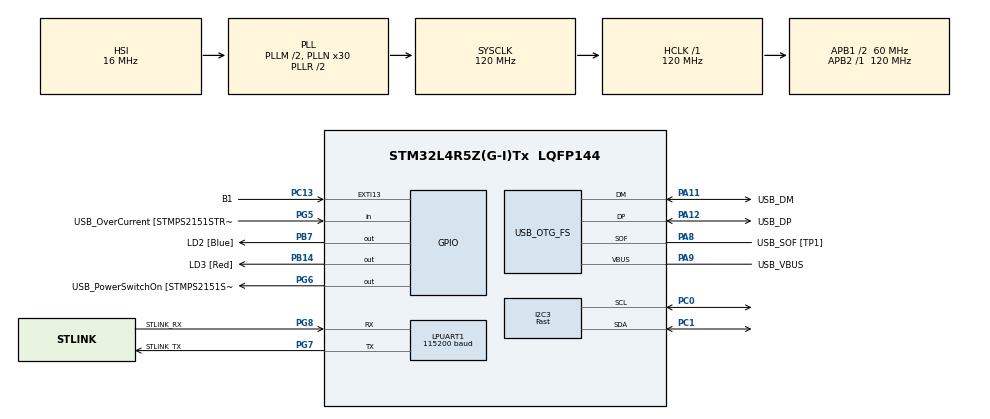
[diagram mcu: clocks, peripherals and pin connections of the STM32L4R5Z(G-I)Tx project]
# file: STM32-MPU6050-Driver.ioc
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I2C3.I2C_Speed_Mode=I2C_Fast
I2C3.Timing=0x00B01E60
LPUART1.BaudRate=115200
LPUART1.WordLength=UART_WORDLENGTH_8B
Mcu.Family=STM32L4
Mcu.Name=STM32L4R5Z(G-I)Tx
Mcu.Package=LQFP144
NVIC.PriorityGroup=NVIC_PRIORITYGROUP_4
PA10.GPIO_Label=USB_ID
PA10.Signal=USB_OTG_FS_ID
PA11.GPIO_Label=USB_DM
PA11.Mode=Device_Only
PA11.Signal=USB_OTG_FS_DM
PA12.GPIO_Label=USB_DP
PA12.Mode=Device_Only
PA12.Signal=USB_OTG_FS_DP
PA13\ (JTMS/SWDIO).GPIO_Label=TMS
PA13\ (JTMS/SWDIO).Mode=Trace_Asynchronous_SW
PA13\ (JTMS/SWDIO).Signal=SYS_JTMS-SWDIO
PA14\ (JTCK/SWCLK).GPIO_Label=TCK
PA14\ (JTCK/SWCLK).Mode=Trace_Asynchronous_SW
PA14\ (JTCK/SWCLK).Signal=SYS_JTCK-SWCLK
PA8.GPIO_Label=USB_SOF [TP1]
PA8.Mode=Activate_SOF_FS
PA8.Signal=USB_OTG_FS_SOF
PA9.GPIO_Label=USB_VBUS
PA9.Mode=Activate_VBUS
PA9.Signal=USB_OTG_FS_VBUS
PB14.GPIO_Label=LD3 [Red]
PB14.Signal=GPIO_Output
PB3\ (JTDO/TRACESWO).GPIO_Label=SWO
PB3\ (JTDO/TRACESWO).Mode=Trace_Asynchronous_SW
PB3\ (JTDO/TRACESWO).Signal=SYS_JTDO-SWO
PB7.GPIO_Label=LD2 [Blue]
PB7.Signal=GPIO_Output
PC0.Mode=I2C
PC0.Signal=I2C3_SCL
PC1.Mode=I2C
PC1.Signal=I2C3_SDA
PC13.GPIO_Label=B1
PC13.Signal=GPXTI13
PC14-OSC32_IN\ (PC14).Mode=LSE-External-Oscillator
PC14-OSC32_IN\ (PC14).Signal=RCC_OSC32_IN
PC15-OSC32_OUT\ (PC15).Mode=LSE-External-Oscillator
PC15-OSC32_OUT\ (PC15).Signal=RCC_OSC32_OUT
PD8.GPIO_Label=STLK_RX [STM32F103CBT6_PA3]
PD8.Signal=USART3_TX
PD9.GPIO_Label=STLK_TX [STM32F103CBT6_PA2]
PD9.Signal=USART3_RX
PG5.GPIO_Label=USB_OverCurrent [STMPS2151STR_FAULT]
PG5.Signal=GPIO_Input
PG6.GPIO_Label=USB_PowerSwitchOn [STMPS2151STR_EN]
PG6.Signal=GPIO_Output
PG7.GPIO_Label=STLINK_TX
PG7.Mode=Asynchronous
PG7.Signal=LPUART1_TX
PG8.GPIO_Label=STLINK_RX
PG8.Mode=Asynchronous
PG8.Signal=LPUART1_RX
PH0-OSC_IN\ (PH0).Signal=RCC_OSC_IN
PH1-OSC_OUT\ (PH1).Signal=RCC_OSC_OUT
ProjectManager.HeapSize=0x200
ProjectManager.StackSize=0x400
ProjectManager.TargetToolchain=STM32CubeIDE
RCC.48MHZClocksFreq_Value=24000000
RCC.ADCFreq_Value=96000000
RCC.AHBFreq_Value=120000000
RCC.APB1CLKDivider=RCC_HCLK_DIV2
RCC.APB1Freq_Value=60000000
RCC.APB1TimFreq_Value=120000000
RCC.APB2Freq_Value=120000000
RCC.APB2TimFreq_Value=120000000
RCC.CK48CLockSelection=RCC_USBCLKSOURCE_HSI48
RCC.CortexFreq_Value=120000000
RCC.HCLKFreq_Value=120000000
RCC.HSE_VALUE=8000000
RCC.HSI48_VALUE=48000000
RCC.HSI_VALUE=16000000
RCC.MSI_VALUE=4000000
RCC.PLLM1=2
RCC.PLLMUL=RCC_PLL_MUL9
RCC.PLLN=30
RCC.PLLSAI1N=12
RCC.PLLSourceVirtual=RCC_PLLSOURCE_HSI
RCC.PRESCALERUSB=RCC_USBCLKSOURCE_PLL_DIV1_5
RCC.SYSCLKFreq_VALUE=120000000
RCC.SYSCLKSource=RCC_SYSCLKSOURCE_PLLCLK
RCC.SYSCLKSourceVirtual=RCC_SYSCLKSOURCE_PLLCLK
RCC.USBFreq_Value=48000000
RCC.VCOOutputFreq_Value=240000000
USB_OTG_FS.VirtualMode=Device_Only
board=NUCLEO-L4R5ZI

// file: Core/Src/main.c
/* USER CODE BEGIN Header */
/**
  ******************************************************************************
  * @file           : main.c
  * @brief          : Main program body
  ******************************************************************************
  * @attention
  *
  * Copyright (c) 2024 STMicroelectronics.
  * All rights reserved.
  *
  * This software is licensed under terms that can be found in the LICENSE file
  * in the root directory of this software component.
  * If no LICENSE file comes with this software, it is provided AS-IS.
  *
  ******************************************************************************
  */
/* USER CODE END Header */
#include "main.h"

/* USER CODE BEGIN Includes */

#include <string.h>
#include <stdio.h>
#include "MPU6050_Driver.h"

/* USER CODE END Includes */

I2C_HandleTypeDef hi2c3;

UART_HandleTypeDef hlpuart1;

PCD_HandleTypeDef hpcd_USB_OTG_FS;

void SystemClock_Config(void);
static void MX_GPIO_Init(void);
static void MX_LPUART1_UART_Init(void);
static void MX_USB_OTG_FS_PCD_Init(void);
static void MX_I2C3_Init(void);

/* USER CODE BEGIN 0 */

// MPU6050 definitions
#define MPU_ADDR 0x68  << 1     // MPU-6050 I2C address (shifted for HAL)
#define PWR_MGMT_1 0x6B           // Power Management 1 register
#define SIGNAL_PATH_RESET 0x68    // Signal Path Reset register
#define WHO_AM_I_ADDR 0x75        // WHO_AM_I register

/* USER CODE END 0 */

int main(void)
{

  /* MCU Configuration--------------------------------------------------------*/

  /* Reset of all peripherals, Initializes the Flash interface and the Systick. */
  HAL_Init();

  /* Configure the system clock */
  SystemClock_Config();

  /* Initialize all configured peripherals */
  MX_GPIO_Init();
  MX_LPUART1_UART_Init();
  MX_USB_OTG_FS_PCD_Init();
  MX_I2C3_Init();
  /* USER CODE BEGIN 2 */

  //unsigned char tx_buff[] = "Hello UTAT!\n\r";

  unsigned char tx_buff[100];

  int status;

  status = MPU6050_Init(&hi2c3);

  /* USER CODE END 2 */

  /* Infinite loop */
  /* USER CODE BEGIN WHILE */
  while (1)
  {

    float a_x = MPU6050_ReadAccelX();
    float a_y = MPU6050_ReadAccelY();
    float a_z = MPU6050_ReadAccelZ();
    float temp = MPU6050_ReadTemp();

    if (status == 0)
    {
      //print the acceleration values
      sprintf((char*)tx_buff, "X:%f, Y:%f, Z:%f, Temp:%f\n\r", a_x, a_y, a_z, temp);

    }
    else
    {
      sprintf((char*)tx_buff, "MPU6050 initialization failed!\n\r");
    }

    // Transmit the message over UART
    HAL_UART_Transmit(&hlpuart1, tx_buff, strlen((char*)tx_buff), 1000);

    // Delay between cycles (1 second)
    HAL_Delay(10);

    /* USER CODE END WHILE */

  }
}

void SystemClock_Config(void)
{
  RCC_OscInitTypeDef RCC_OscInitStruct = {0};
  RCC_ClkInitTypeDef RCC_ClkInitStruct = {0};

  /** Configure the main internal regulator output voltage
  */
  if (HAL_PWREx_ControlVoltageScaling(PWR_REGULATOR_VOLTAGE_SCALE1_BOOST) != HAL_OK)
  {
    Error_Handler();
  }

  /** Initializes the RCC Oscillators according to the specified parameters
  * in the RCC_OscInitTypeDef structure.
  */
  RCC_OscInitStruct.OscillatorType = RCC_OSCILLATORTYPE_HSI48|RCC_OSCILLATORTYPE_HSI;
  RCC_OscInitStruct.HSIState = RCC_HSI_ON;
  RCC_OscInitStruct.HSI48State = RCC_HSI48_ON;
  RCC_OscInitStruct.HSICalibrationValue = RCC_HSICALIBRATION_DEFAULT;
  RCC_OscInitStruct.PLL.PLLState = RCC_PLL_ON;
  RCC_OscInitStruct.PLL.PLLSource = RCC_PLLSOURCE_HSI;
  RCC_OscInitStruct.PLL.PLLM = 2;
  RCC_OscInitStruct.PLL.PLLN = 30;
  RCC_OscInitStruct.PLL.PLLP = RCC_PLLP_DIV2;
  RCC_OscInitStruct.PLL.PLLQ = RCC_PLLQ_DIV2;
  RCC_OscInitStruct.PLL.PLLR = RCC_PLLR_DIV2;
  if (HAL_RCC_OscConfig(&RCC_OscInitStruct) != HAL_OK)
  {
    Error_Handler();
  }

  /** Initializes the CPU, AHB and APB buses clocks
  */
  RCC_ClkInitStruct.ClockType = RCC_CLOCKTYPE_HCLK|RCC_CLOCKTYPE_SYSCLK
                              |RCC_CLOCKTYPE_PCLK1|RCC_CLOCKTYPE_PCLK2;
  RCC_ClkInitStruct.SYSCLKSource = RCC_SYSCLKSOURCE_PLLCLK;
  RCC_ClkInitStruct.AHBCLKDivider = RCC_SYSCLK_DIV1;
  RCC_ClkInitStruct.APB1CLKDivider = RCC_HCLK_DIV2;
  RCC_ClkInitStruct.APB2CLKDivider = RCC_HCLK_DIV1;

  if (HAL_RCC_ClockConfig(&RCC_ClkInitStruct, FLASH_LATENCY_5) != HAL_OK)
  {
    Error_Handler();
  }
}

static void MX_I2C3_Init(void)
{

  hi2c3.Instance = I2C3;
  hi2c3.Init.Timing = 0x00B01E60;
  hi2c3.Init.OwnAddress1 = 0;
  hi2c3.Init.AddressingMode = I2C_ADDRESSINGMODE_7BIT;
  hi2c3.Init.DualAddressMode = I2C_DUALADDRESS_DISABLE;
  hi2c3.Init.OwnAddress2 = 0;
  hi2c3.Init.OwnAddress2Masks = I2C_OA2_NOMASK;
  hi2c3.Init.GeneralCallMode = I2C_GENERALCALL_DISABLE;
  hi2c3.Init.NoStretchMode = I2C_NOSTRETCH_DISABLE;
  if (HAL_I2C_Init(&hi2c3) != HAL_OK)
  {
    Error_Handler();
  }

  /** Configure Analogue filter
  */
  if (HAL_I2CEx_ConfigAnalogFilter(&hi2c3, I2C_ANALOGFILTER_ENABLE) != HAL_OK)
  {
    Error_Handler();
  }

  /** Configure Digital filter
  */
  if (HAL_I2CEx_ConfigDigitalFilter(&hi2c3, 0) != HAL_OK)
  {
    Error_Handler();
  }

}

static void MX_LPUART1_UART_Init(void)
{

  hlpuart1.Instance = LPUART1;
  hlpuart1.Init.BaudRate = 115200;
  hlpuart1.Init.WordLength = UART_WORDLENGTH_8B;
  hlpuart1.Init.StopBits = UART_STOPBITS_1;
  hlpuart1.Init.Parity = UART_PARITY_NONE;
  hlpuart1.Init.Mode = UART_MODE_TX_RX;
  hlpuart1.Init.HwFlowCtl = UART_HWCONTROL_NONE;
  hlpuart1.Init.OneBitSampling = UART_ONE_BIT_SAMPLE_DISABLE;
  hlpuart1.Init.ClockPrescaler = UART_PRESCALER_DIV1;
  hlpuart1.AdvancedInit.AdvFeatureInit = UART_ADVFEATURE_NO_INIT;
  hlpuart1.FifoMode = UART_FIFOMODE_DISABLE;
  if (HAL_UART_Init(&hlpuart1) != HAL_OK)
  {
    Error_Handler();
  }
  if (HAL_UARTEx_SetTxFifoThreshold(&hlpuart1, UART_TXFIFO_THRESHOLD_1_8) != HAL_OK)
  {
    Error_Handler();
  }
  if (HAL_UARTEx_SetRxFifoThreshold(&hlpuart1, UART_RXFIFO_THRESHOLD_1_8) != HAL_OK)
  {
    Error_Handler();
  }
  if (HAL_UARTEx_DisableFifoMode(&hlpuart1) != HAL_OK)
  {
    Error_Handler();
  }

}

static void MX_USB_OTG_FS_PCD_Init(void)
{

  hpcd_USB_OTG_FS.Instance = USB_OTG_FS;
  hpcd_USB_OTG_FS.Init.dev_endpoints = 6;
  hpcd_USB_OTG_FS.Init.speed = PCD_SPEED_FULL;
  hpcd_USB_OTG_FS.Init.phy_itface = PCD_PHY_EMBEDDED;
  hpcd_USB_OTG_FS.Init.Sof_enable = ENABLE;
  hpcd_USB_OTG_FS.Init.low_power_enable = DISABLE;
  hpcd_USB_OTG_FS.Init.lpm_enable = DISABLE;
  hpcd_USB_OTG_FS.Init.battery_charging_enable = ENABLE;
  hpcd_USB_OTG_FS.Init.use_dedicated_ep1 = DISABLE;
  hpcd_USB_OTG_FS.Init.vbus_sensing_enable = ENABLE;
  if (HAL_PCD_Init(&hpcd_USB_OTG_FS) != HAL_OK)
  {
    Error_Handler();
  }

}

static void MX_GPIO_Init(void)
{
  GPIO_InitTypeDef GPIO_InitStruct = {0};

  /* GPIO Ports Clock Enable */
  __HAL_RCC_GPIOC_CLK_ENABLE();
  __HAL_RCC_GPIOH_CLK_ENABLE();
  __HAL_RCC_GPIOB_CLK_ENABLE();
  __HAL_RCC_GPIOD_CLK_ENABLE();
  __HAL_RCC_GPIOG_CLK_ENABLE();
  HAL_PWREx_EnableVddIO2();
  __HAL_RCC_GPIOA_CLK_ENABLE();

  /*Configure GPIO pin Output Level */
  HAL_GPIO_WritePin(GPIOB, LD3_Pin|LD2_Pin, GPIO_PIN_RESET);

  /*Configure GPIO pin Output Level */
  HAL_GPIO_WritePin(USB_PowerSwitchOn_GPIO_Port, USB_PowerSwitchOn_Pin, GPIO_PIN_RESET);

  /*Configure GPIO pin : B1_Pin */
  GPIO_InitStruct.Pin = B1_Pin;
  GPIO_InitStruct.Mode = GPIO_MODE_IT_RISING;
  GPIO_InitStruct.Pull = GPIO_NOPULL;
  HAL_GPIO_Init(B1_GPIO_Port, &GPIO_InitStruct);

  /*Configure GPIO pins : LD3_Pin LD2_Pin */
  GPIO_InitStruct.Pin = LD3_Pin|LD2_Pin;
  GPIO_InitStruct.Mode = GPIO_MODE_OUTPUT_PP;
  GPIO_InitStruct.Pull = GPIO_NOPULL;
  GPIO_InitStruct.Speed = GPIO_SPEED_FREQ_LOW;
  HAL_GPIO_Init(GPIOB, &GPIO_InitStruct);

  /*Configure GPIO pins : STLK_RX_Pin STLK_TX_Pin */
  GPIO_InitStruct.Pin = STLK_RX_Pin|STLK_TX_Pin;
  GPIO_InitStruct.Mode = GPIO_MODE_AF_PP;
  GPIO_InitStruct.Pull = GPIO_NOPULL;
  GPIO_InitStruct.Speed = GPIO_SPEED_FREQ_VERY_HIGH;
  GPIO_InitStruct.Alternate = GPIO_AF7_USART3;
  HAL_GPIO_Init(GPIOD, &GPIO_InitStruct);

  /*Configure GPIO pin : USB_OverCurrent_Pin */
  GPIO_InitStruct.Pin = USB_OverCurrent_Pin;
  GPIO_InitStruct.Mode = GPIO_MODE_INPUT;
  GPIO_InitStruct.Pull = GPIO_NOPULL;
  HAL_GPIO_Init(USB_OverCurrent_GPIO_Port, &GPIO_InitStruct);

  /*Configure GPIO pin : USB_PowerSwitchOn_Pin */
  GPIO_InitStruct.Pin = USB_PowerSwitchOn_Pin;
  GPIO_InitStruct.Mode = GPIO_MODE_OUTPUT_PP;
  GPIO_InitStruct.Pull = GPIO_NOPULL;
  GPIO_InitStruct.Speed = GPIO_SPEED_FREQ_LOW;
  HAL_GPIO_Init(USB_PowerSwitchOn_GPIO_Port, &GPIO_InitStruct);

}

void Error_Handler(void)
{
  __disable_irq();
  while (1)
  {
  }
}
